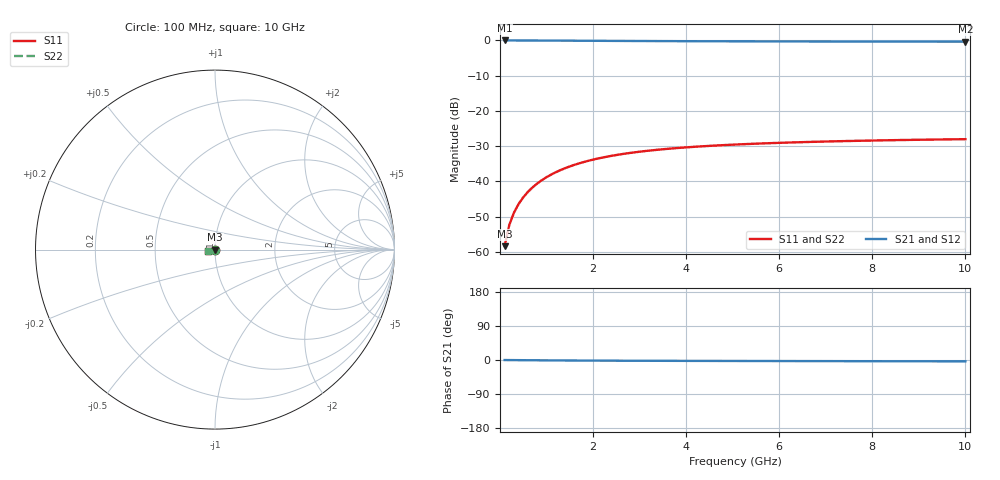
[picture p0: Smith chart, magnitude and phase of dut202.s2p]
! Touchstone file exported from HFSS 2024.1.0
!  File:  C:/UserFiles/LocalFiles/RDL_TSV_Batchsim/temp_TSV1_202_1779385925.aedt
!  Generated:  01:57:26 AM May 22, 2026
!  Design:  TSV1
!  Project:  temp_TSV1_202_1779385925
!  Setup:  Setup1
!  Solution:  Sweep
! Variables:
!  dtsv = 14.93um
!  hbump = 3um
!  htsv = 51.15um
!  lrdl = 252.1521522um
!  p = 40
!  p1 = 52.36um
!  t = 500um
!  trdl = 3um
!  wrdl = 24.89489489um
# GHz S MA R 50.000000
! Terminal data exported
! Port[1] = TSV22_T1
! Port[2] = TSV22_T2
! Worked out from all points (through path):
!   100 points, 100 MHz to 10 GHz, reference 50 ohm
!   highest |S21| = 0.00 dB at 100 MHz (marker M1); lowest = -0.3 dB at 10 GHz (marker M2)
!   lowest |S11| = -58.4 dB at 100 MHz (marker M3), VSWR 1.00, Z = 50 - j0.12 ohm
!   |S11| at or under -10 dB: start of sweep to end of sweep
!   |S22| runs from -58.4 to -28.0 dB; largest |S21 - S12| = 4.1e-15
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0.1  0.001199 -88.8  0.9999 -0.1  0.9999 -0.1  0.001199 -88.8
! Gamma 0 0 0 0
! Port Impedance 50 0 50 0
0.2  0.002393 -92.1  0.9998 -0.2  0.9998 -0.2  0.002393 -92.1
0.3  0.003579 -94.5  0.9996 -0.3  0.9996 -0.3  0.003579 -94.5
0.4  0.004756 -96.6  0.9993 -0.4  0.9993 -0.4  0.004756 -96.5
0.5  0.005919 -98.5  0.9989 -0.5  0.9989 -0.5  0.005919 -98.5
0.6  0.007066 -100.4  0.9985 -0.6  0.9985 -0.6  0.007066 -100.4
0.7  0.008193 -102.2  0.998 -0.7  0.998 -0.7  0.008192 -102.2
0.8  0.009297 -104.0  0.9975 -0.8  0.9975 -0.8  0.009297 -104.0
0.9  0.01038 -105.7  0.9969 -0.9  0.9969 -0.9  0.01038 -105.7
1.1  0.01246 -109.1  0.9956 -1.0  0.9956 -1.0  0.01246 -109.1
1.4  0.01536 -113.8  0.9935 -1.2  0.9935 -1.2  0.01536 -113.8
1.6  0.01713 -116.7  0.992 -1.4  0.992 -1.4  0.01713 -116.7
1.8  0.01878 -119.5  0.9905 -1.5  0.9905 -1.5  0.01878 -119.5
2.1  0.02103 -123.3  0.9882 -1.6  0.9882 -1.6  0.02103 -123.3
2.5  0.02362 -128.0  0.9853 -1.8  0.9853 -1.8  0.02362 -128.0
2.9  0.02582 -132.0  0.9826 -2.0  0.9826 -2.0  0.02582 -132.0
3.4  0.02811 -136.5  0.9795 -2.1  0.9795 -2.1  0.02811 -136.5
4.2  0.03096 -142.3  0.9754 -2.4  0.9754 -2.4  0.03096 -142.3
5.1  0.03335 -147.6  0.9716 -2.6  0.9716 -2.6  0.03335 -147.6
6.7  0.03629 -154.7  0.9668 -2.9  0.9668 -2.9  0.03629 -154.7
8.4  0.03834 -160.5  0.9634 -3.3  0.9634 -3.3  0.03834 -160.5
10  0.03965 -164.9  0.9611 -3.6  0.9611 -3.6  0.03965 -164.9
